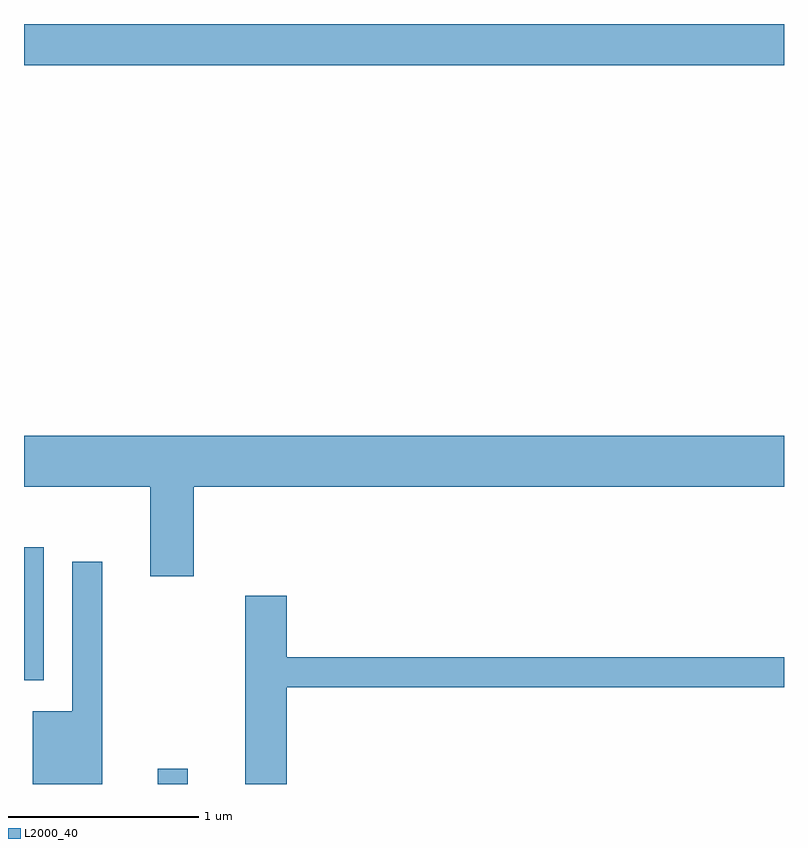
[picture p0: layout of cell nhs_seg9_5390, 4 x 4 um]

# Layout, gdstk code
import gdstk
lib = gdstk.Library(unit=1e-6, precision=1e-09)
def R(c, l, rs):  # rectangles x0, y0, x1, y1
    for r in rs: c.add(gdstk.rectangle(r[:2], r[2:], *l))
def P(c, l, *ps):  # polygons
    for p in ps: c.add(gdstk.Polygon(p, *l))
L2000_40 = (2000, 40)

nhs_seg9_5390 = lib.new_cell('nhs_seg9_5390')
R(nhs_seg9_5390, L2000_40, [(344.316,2032.432,344.474,2032.513), (343.611,2032.978,343.714,2033.679), (343.611,2036.216,347.611,2036.432)])
P(nhs_seg9_5390, L2000_40, [(344.504,2033.996),(347.611,2033.996),(347.611,2034.264),(343.611,2034.264),(343.611,2033.996),(344.276,2033.996),(344.276,2033.526),(344.504,2033.526)],
  [(344.024,2033.603),(343.866,2033.603),(343.866,2032.814),(343.656,2032.814),(343.656,2032.432),(344.024,2032.432)],
  [(344.994,2032.941),(347.611,2032.941),(347.611,2033.099),(344.994,2033.099),(344.994,2033.424),(344.776,2033.424),(344.776,2032.432),(344.994,2032.432)])

lib.write_gds('nhs_seg9_5390.gds')
